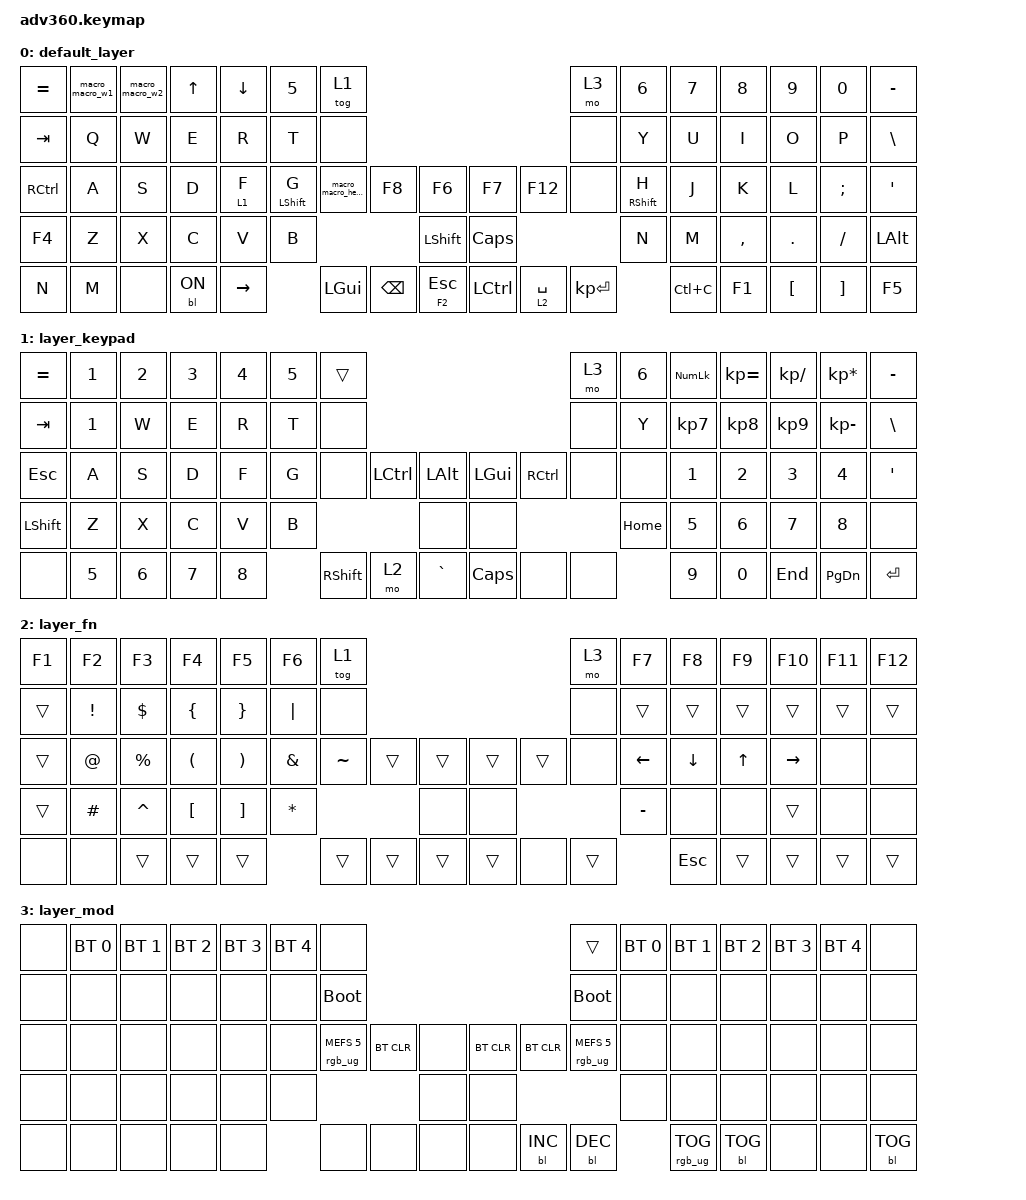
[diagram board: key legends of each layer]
/*
 * Copyright (c) 2020 The ZMK Contributors
 *
 * SPDX-License-Identifier: MIT
 */
/* THIS FILE WAS GENERATED!
 *
 * This file was generated automatically. You may or may not want to
 * edit it directly.
 */

#include <behaviors.dtsi>
#include <dt-bindings/zmk/backlight.h>
#include <dt-bindings/zmk/bt.h>
#include <dt-bindings/zmk/keys.h>
#include <dt-bindings/zmk/rgb.h>

/ {
    behaviors {
        #include "macros.dtsi"
    #include "version.dtsi"

        hm: homerow_mods {
            compatible = "zmk,behavior-hold-tap";
            label = "HOMEROW_MODS";
            #binding-cells = <2>;
            tapping-term-ms = <200>;
            quick_tap_ms = <175>;
            flavor = "tap-preferred";
            bindings = <&kp>, <&kp>;
        };
    };

    keymap {
        compatible = "zmk,keymap";

        default_layer {
            bindings = <
&kp EQUAL          &macro_macro_w1  &macro_macro_w2  &kp UP_ARROW  &kp DOWN         &kp N5            &tog 1                                                                               &mo 3         &kp N6             &kp N7     &kp N8     &kp N9            &kp N0             &kp MINUS
&kp TAB            &kp Q            &kp W            &kp E         &kp R            &kp T             &none                                                                                &none         &kp Y              &kp U      &kp I      &kp O             &kp P              &kp BSLH
&kp RIGHT_CONTROL  &kp A            &kp S            &kp D         &lt 1 F          &mt LEFT_SHIFT G  &macro_macro_helm  &kp F8         &kp F6              &kp F7            &kp F12      &none         &mt RIGHT_SHIFT H  &kp J      &kp K      &kp L             &kp SEMI           &kp SQT
&kp F4             &kp Z            &kp X            &kp C         &kp V            &kp B                                               &kp LEFT_SHIFT      &kp CAPSLOCK                                 &kp N              &kp M      &kp COMMA  &kp DOT           &kp SLASH          &kp LEFT_ALT
&kp N              &kp M            &none            &bl BL_ON     &kp RIGHT_ARROW                    &kp LEFT_GUI       &kp BACKSPACE  &mt F2 ESCAPE       &kp LEFT_CONTROL  &lt 2 SPACE  &kp KP_ENTER                     &kp LC(C)  &kp F1     &kp LEFT_BRACKET  &kp RIGHT_BRACKET  &kp F5
            >;
        };

        layer_keypad {
            bindings = <
&kp EQUAL  &kp N1        &kp N2        &kp N3        &kp N4        &kp N5  &trans                                                    &mo 3  &kp N6    &kp KP_NUM    &kp KP_EQUAL  &kp KP_DIVIDE  &kp KP_MULTIPLY  &kp MINUS
&kp TAB    &kp N1        &kp W         &kp E         &kp R         &kp T   &none                                                     &none  &kp Y     &kp KP_N7     &kp KP_N8     &kp KP_N9      &kp KP_MINUS     &kp BSLH
&kp ESC    &kp A         &kp S         &kp D         &kp F         &kp G   &none      &kp LCTRL  &kp LALT       &kp LGUI  &kp RCTRL  &none  &none     &kp NUMBER_1  &kp NUMBER_2  &kp NUMBER_3   &kp NUMBER_4     &kp SQT
&kp LSHFT  &kp Z         &kp X         &kp C         &kp V         &kp B                         &none          &none                       &kp HOME  &kp NUMBER_5  &kp NUMBER_6  &kp NUMBER_7   &kp NUMBER_8     &none
&none      &kp NUMBER_5  &kp NUMBER_6  &kp NUMBER_7  &kp NUMBER_8          &kp RSHFT  &mo 2      &kp GRAVE      &kp CAPS  &none      &none            &kp NUMBER_9  &kp NUMBER_0  &kp END        &kp PG_DN        &kp ENTER
            >;
        };

        layer_fn {
            bindings = <
&kp F1  &kp F2       &kp F3       &kp F4            &kp F5             &kp F6         &tog 1                                         &mo 3   &kp F7     &kp F8      &kp F9  &kp F10    &kp F11  &kp F12
&trans  &kp EXCL     &kp DOLLAR   &kp LEFT_BRACE    &kp RIGHT_BRACE    &kp PIPE       &none                                          &none   &trans     &trans      &trans  &trans     &trans   &trans
&trans  &kp AT_SIGN  &kp PERCENT  &kp LPAR          &kp RPAR           &kp AMPERSAND  &kp TILDE  &trans  &trans      &trans  &trans  &none   &kp LEFT   &kp DOWN    &kp UP  &kp RIGHT  &none    &none
&trans  &kp HASH     &kp CARET    &kp LEFT_BRACKET  &kp RIGHT_BRACKET  &kp ASTERISK                      &none       &none                   &kp MINUS  &none       &none   &trans     &none    &none
&none   &none        &trans       &trans            &trans                            &trans     &trans  &trans      &trans  &none   &trans             &kp ESCAPE  &trans  &trans     &trans   &trans
            >;
        };

        layer_mod {
            bindings = <
&none  &bt BT_SEL 0  &bt BT_SEL 1  &bt BT_SEL 2  &bt BT_SEL 3  &bt BT_SEL 4  &none                                                                  &trans                  &bt BT_SEL 0  &bt BT_SEL 1     &bt BT_SEL 2  &bt BT_SEL 3  &bt BT_SEL 4  &none
&none  &none         &none         &none         &none         &none         &bootloader                                                            &bootloader             &none         &none            &none         &none         &none         &none
&none  &none         &none         &none         &none         &none         &rgb_ug RGB_MEFS_CMD 5  &bt BT_CLR  &none      &bt BT_CLR  &bt BT_CLR  &rgb_ug RGB_MEFS_CMD 5  &none         &none            &none         &none         &none         &none
&none  &none         &none         &none         &none         &none                                             &none      &none                                           &none         &none            &none         &none         &none         &none
&none  &none         &none         &none         &none                       &none                   &none       &none      &none       &bl BL_INC  &bl BL_DEC                            &rgb_ug RGB_TOG  &bl BL_TOG    &none         &none         &bl BL_TOG
            >;
        };
    };
};
